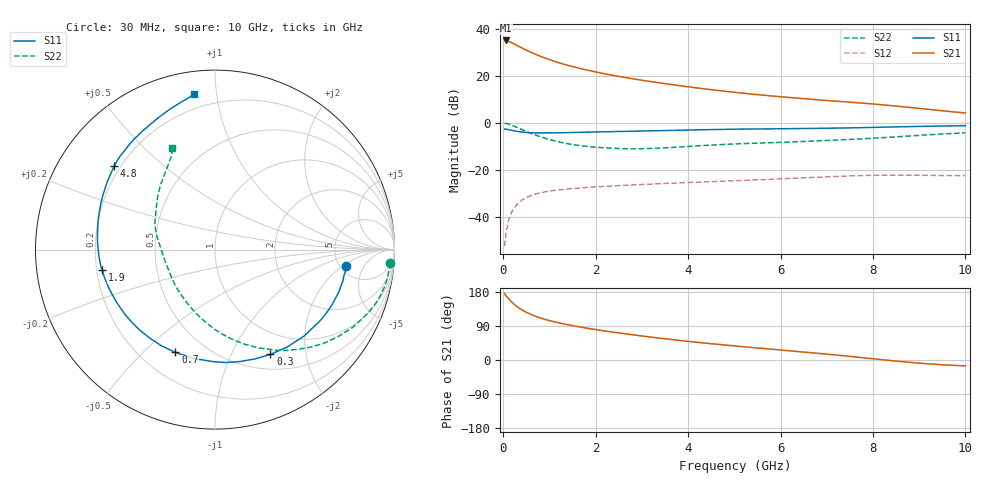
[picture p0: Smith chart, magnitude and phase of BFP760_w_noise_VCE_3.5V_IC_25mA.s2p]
! Infineon Technologies  Discrete & RF Semiconductors
! BFP760
! VCE =  3.5 V,  IC =  25 mA
! Common Emitter S-Parameters:  Nov 2012
# GHz  S  MA  R  50
!  f  S11  S21  S12  S22
! GHz  MAG  ANG  MAG  ANG  MAG  ANG  MAG  ANG
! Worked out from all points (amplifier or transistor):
!   99 points, 30 MHz to 10 GHz, reference 50 ohm
!   highest |S21| = 35.0 dB at 50 MHz (marker M1)
!   |S21| within 3 dB of that: start of sweep to 387.1 MHz
!   unconditionally stable (mu >= 1): 4.421 GHz to end of sweep
!   at 350 MHz: K = 0.25, MSG = 33.0 dB, |S12| = -33.6 dB
!   at 3.5 GHz: K = 0.90, MSG = 21.2 dB, |S12| = -25.7 dB
!   at 10 GHz: K = 1.08, MAG = 11.6 dB, |S12| = -22.4 dB
!   lowest NFmin = 0.68 dB at 900 MHz
!   S11 on the Smith chart (normalised r, x): 30 MHz: 5.73, -2.23; 300 MHz: 0.69, -1.43; 700 MHz: 0.34, -0.63; 1.9 GHz: 0.22, -0.09; 4.8 GHz: 0.18, +0.35; 10 GHz: 0.12, +0.87
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0.03  0.7375 -6.9  56.44 175.0  0.0024 80.7  0.9795 -4.4
0.05  0.7329 -11.6  56.53 171.4  0.0033 84.6  0.9744 -7.5
0.1  0.7226 -23.1  54.69 164.1  0.0072 76.6  0.9569 -15.4
0.15  0.7072 -34.0  52.37 157.3  0.0105 72.7  0.9224 -22.6
0.2  0.6915 -44.1  49.69 151.2  0.0138 68.3  0.883 -29.2
0.25  0.6756 -53.5  47.04 145.6  0.0162 64.0  0.8413 -35.1
0.3  0.6606 -62.1  44.33 140.7  0.0185 62.2  0.8014 -40.6
0.4  0.6389 -77.5  39.44 132.5  0.0226 56.5  0.7239 -50.1
0.5  0.6253 -90.4  35.21 125.9  0.0259 51.6  0.6576 -58.5
0.7  0.6138 -111.1  28.7 115.4  0.0309 44.8  0.5525 -72.6
0.9  0.6129 -126.7  24 107.4  0.0342 39.9  0.4746 -84.7
1.1  0.615 -138.9  20.49 100.9  0.0368 36.7  0.4177 -95.3
1.4  0.6226 -152.8  16.72 93.0  0.0394 33.4  0.3612 -109.1
1.7  0.6321 -163.6  14.09 86.3  0.0416 31.3  0.3247 -121.4
1.9  0.6393 -169.6  12.72 82.3  0.043 30.2  0.3097 -129.2
2.6  0.6592 173.5  9.362 69.8  0.0469 28.1  0.2838 -152.6
3.4  0.6842 158.6  7.053 57.5  0.0512 26.7  0.2925 -174.9
4.8  0.7292 140.3  4.702 39.5  0.058 24.8  0.3492 161.5
5.1  0.7369 137.6  4.372 36.1  0.0595 24.3  0.3602 158.1
6.7  0.7649 125.4  3.161 18.8  0.0695 21.2  0.4111 142.2
8.5  0.8232 107.5  2.28 -2.9  0.0778 11.6  0.505 123.8
10  0.8734 97.7  1.625 -15.6  0.0758 7.3  0.6154 112.7
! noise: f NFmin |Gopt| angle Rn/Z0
0.9  0.68  0.13  -170  0.1
1.8  0.74  0.15  -159  0.07
2.4  0.78  0.16  -149  0.08
3.5  0.91  0.17  -140  0.09
5.5  1.12  0.26  -110  0.19
8  1.42  0.38  -78  0.37
